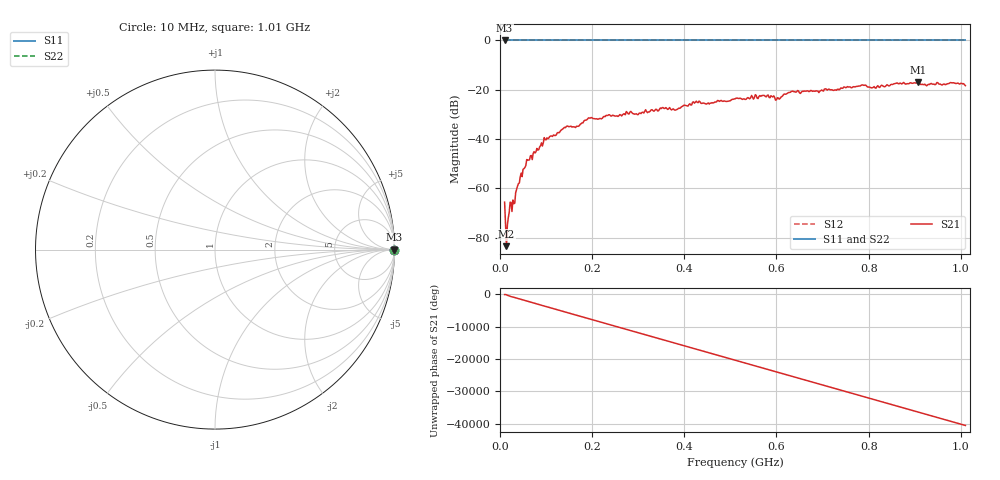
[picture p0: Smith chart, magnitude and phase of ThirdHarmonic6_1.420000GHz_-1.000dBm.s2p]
! 8/16/2025 4:19:40 PM
! C:\ANRITSUVNA\TEMP\TEMP.S2P
! CHANNEL.1
! TR.MEASUREMENT
! RAW.DATA
! RF.CORRECTION.OFF
! AVERAGING.OFF
! IF.BANDWIDTH: 5KHZ
! SWEEPTYPE:  FREQ.SWEEP(Linear)
! Reference Plane Port Info
! PORT:  PORT1  PORT2
! DISTANCE:  0  m  0  m
! TIME:  0  s  0  s
! PHASE.OFFSET:  0  deg.  0  deg.
! LOSS:  0  dB  0  dB
! REF.LOSS:  0  dB  0  dB
! REF.FREQ:  0  Hz  0  Hz
! Power Info
! POWER:  -20  dBm  -20  dBm
! EFF.POWER:  -20  dBm  -20  dBm
! SOURCE.ATTEN:  0  dB  0  dB
! TEST.ATTEN:  0  dB  0  dB
# GHZ S RI R 50.0
! FREQ.GHZ  S11RE  S11IM  S21RE  S21IM  S12RE  S12IM  S22RE  S22IM
!; PortSelection: Port_12
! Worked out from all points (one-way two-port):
!   501 points, 10 MHz to 1.01 GHz, reference 50 ohm
!   highest |S21| = -17.04 dB at 908 MHz (marker M1); lowest = -83.5 dB at 14 MHz (marker M2)
!   lowest |S11| = 0.0 dB at 10 MHz (marker M3)
!   |S11| at or under -10 dB: nowhere
!   |S22| runs from 0.0 to 0.0 dB; largest |S21 - S12| = 1.1
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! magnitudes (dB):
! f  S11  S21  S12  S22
! 10 MHz  0.0  -65.6  0.0  0.0
! 14 MHz  0.0  -83.5  0.0  0.0
! 16 MHz  0.0  -75.0  0.0  0.0
! 20 MHz  0.0  -69.8  0.0  0.0
! 30 MHz  0.0  -66.2  0.0  0.0
! 42 MHz  0.0  -57.8  0.0  0.0
! 62 MHz  0.0  -48.5  0.0  0.0
! 100 MHz  0.0  -40.3  0.0  0.0
! 142 MHz  0.0  -35.4  0.0  0.0
! 178 MHz  0.0  -33.5  0.0  0.0
! 196 MHz  0.0  -31.5  0.0  0.0
! 344 MHz  0.0  -28.5  0.0  0.0
! 382 MHz  0.0  -28.2  0.0  0.0
! 422 MHz  0.0  -25.4  0.0  0.0
! 510 MHz  0.0  -23.7  0.0  0.0
! 570 MHz  0.0  -22.3  0.0  0.0
! 602 MHz  0.0  -23.3  0.0  0.0
! 632 MHz  0.0  -20.7  0.0  0.0
! 678 MHz  0.0  -20.7  0.0  0.0
! 844 MHz  0.0  -18.5  0.0  0.0
! 908 MHz  0.0  -17.0  0.0  0.0
! 1.01 GHz  0.0  -18.4  0.0  0.0
